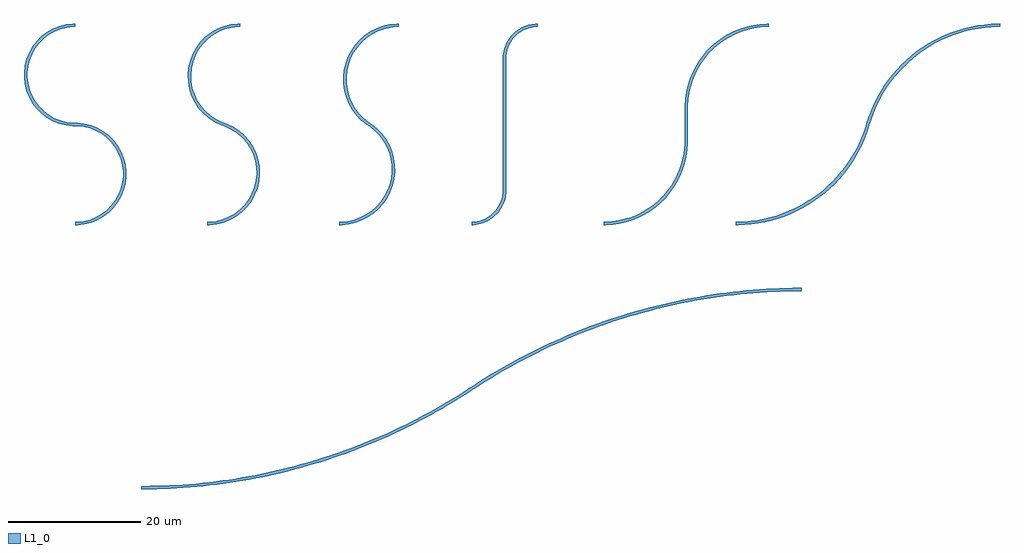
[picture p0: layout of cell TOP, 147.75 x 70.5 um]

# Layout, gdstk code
import gdstk
lib = gdstk.Library(unit=1e-6, precision=1e-09)
L1_0 = (1, 0)

top = lib.new_cell('TOP')
top.add(gdstk.FlexPath([(-50,0),(-49.663,0),(-48.659,0.113),(-47.68,0.36),(-46.743,0.736),(-45.864,1.234),(-45.06,1.846),(-44.346,2.56),(-43.734,3.364),(-43.236,4.243),(-42.86,5.18),(-42.613,6.159),(-42.5,7.163),(-42.5,7.5),(-42.5,7.837),(-42.613,8.841),(-42.86,9.82),(-43.236,10.757),(-43.734,11.636),(-44.346,12.44),(-45.06,13.154),(-45.864,13.766),(-46.743,14.264),(-47.68,14.64),(-48.659,14.887),(-49.663,15),(-50,15),(-50.337,15),(-51.341,15.113),(-52.32,15.36),(-53.257,15.736),(-54.136,16.234),(-54.94,16.846),(-55.654,17.56),(-56.266,18.364),(-56.764,19.243),(-57.14,20.18),(-57.387,21.159),(-57.5,22.163),(-57.5,22.5),(-57.5,22.837),(-57.387,23.841),(-57.14,24.82),(-56.764,25.757),(-56.266,26.636),(-55.654,27.44),(-54.94,28.154),(-54.136,28.766),(-53.257,29.264),(-52.32,29.64),(-51.341,29.887),(-50.337,30),(-50,30)], 0.5, ends="flush", simple_path=True, layer=1, datatype=0))  # L1_0
top.add(gdstk.FlexPath([(-30,0),(-29.65,0),(-28.608,0.119),(-27.592,0.378),(-26.62,0.772),(-25.71,1.294),(-24.88,1.935),(-24.145,2.683),(-23.517,3.523),(-23.01,4.441),(-22.631,5.419),(-22.389,6.44),(-22.287,7.484),(-22.328,8.532),(-22.51,9.565),(-22.831,10.563),(-23.285,11.509),(-23.862,12.384),(-24.553,13.174),(-25.344,13.862),(-26.222,14.436),(-27.169,14.887),(-27.5,15),(-27.831,15.113),(-28.778,15.564),(-29.656,16.138),(-30.447,16.826),(-31.138,17.616),(-31.715,18.491),(-32.169,19.437),(-32.49,20.435),(-32.672,21.468),(-32.713,22.516),(-32.611,23.56),(-32.369,24.581),(-31.99,25.559),(-31.483,26.477),(-30.855,27.317),(-30.12,28.065),(-29.29,28.706),(-28.38,29.228),(-27.408,29.622),(-26.392,29.881),(-25.35,30),(-25,30)], 0.5, ends="flush", simple_path=True, layer=1, datatype=0))  # L1_0
top.add(gdstk.FlexPath([(-10,0),(-9.662,0),(-8.655,0.104),(-7.669,0.332),(-6.718,0.68),(-5.818,1.143),(-4.982,1.713),(-4.222,2.382),(-3.551,3.14),(-2.978,3.975),(-2.513,4.874),(-2.163,5.824),(-1.933,6.81),(-1.826,7.816),(-1.844,8.829),(-1.987,9.831),(-2.253,10.808),(-2.638,11.744),(-3.135,12.626),(-3.737,13.44),(-4.435,14.173),(-5.218,14.814),(-5.5,15),(-5.782,15.186),(-6.565,15.827),(-7.263,16.56),(-7.865,17.374),(-8.362,18.256),(-8.747,19.192),(-9.013,20.169),(-9.156,21.171),(-9.174,22.184),(-9.067,23.19),(-8.837,24.176),(-8.487,25.126),(-8.022,26.025),(-7.449,26.86),(-6.778,27.618),(-6.018,28.287),(-5.182,28.857),(-4.282,29.32),(-3.331,29.668),(-2.345,29.896),(-1.338,30),(-1,30)], 0.5, ends="flush", simple_path=True, layer=1, datatype=0))  # L1_0
top.add(gdstk.FlexPath([(10,0),(10.342,0),(11.352,0.174),(12.306,0.55),(13.163,1.112),(13.888,1.837),(14.45,2.694),(14.826,3.648),(15,4.658),(15,5),(15,25),(15,25.342),(15.174,26.352),(15.55,27.306),(16.112,28.163),(16.837,28.888),(17.694,29.45),(18.648,29.826),(19.658,30),(20,30)], 0.5, ends="flush", simple_path=True, layer=1, datatype=0))  # L1_0
top.add(gdstk.FlexPath([(30,0),(30.333,0),(31.329,0.066),(32.317,0.212),(33.29,0.436),(34.242,0.737),(35.167,1.113),(36.059,1.562),(36.912,2.08),(37.722,2.665),(38.482,3.312),(39.188,4.018),(39.835,4.778),(40.42,5.588),(40.938,6.441),(41.387,7.333),(41.763,8.258),(42.064,9.21),(42.288,10.183),(42.434,11.171),(42.5,12.167),(42.5,12.5),(42.5,17.5),(42.5,17.833),(42.566,18.829),(42.712,19.817),(42.936,20.79),(43.237,21.742),(43.613,22.667),(44.062,23.559),(44.58,24.412),(45.165,25.222),(45.812,25.982),(46.518,26.688),(47.278,27.335),(48.088,27.92),(48.941,28.438),(49.833,28.887),(50.758,29.263),(51.71,29.564),(52.683,29.788),(53.671,29.934),(54.667,30),(55,30)], 0.5, ends="flush", simple_path=True, layer=1, datatype=0))  # L1_0
top.add(gdstk.FlexPath([(50,0),(50.335,0),(51.34,0.04),(52.341,0.129),(53.338,0.266),(54.326,0.451),(55.304,0.684),(56.27,0.963),(57.221,1.289),(58.156,1.66),(59.071,2.076),(59.966,2.535),(60.837,3.037),(61.683,3.581),(62.502,4.165),(63.291,4.787),(64.05,5.447),(64.776,6.143),(65.467,6.873),(66.123,7.635),(66.741,8.428),(67.32,9.25),(67.858,10.099),(68.355,10.973),(68.81,11.871),(69.22,12.788),(69.586,13.725),(69.906,14.678),(70,15),(70.094,15.322),(70.414,16.275),(70.78,17.212),(71.19,18.129),(71.645,19.027),(72.142,19.901),(72.68,20.75),(73.259,21.572),(73.877,22.365),(74.533,23.127),(75.224,23.857),(75.95,24.553),(76.709,25.213),(77.498,25.835),(78.317,26.419),(79.163,26.963),(80.034,27.465),(80.929,27.924),(81.844,28.34),(82.779,28.711),(83.73,29.037),(84.696,29.316),(85.674,29.549),(86.662,29.734),(87.659,29.871),(88.66,29.96),(89.665,30),(90,30)], 0.5, ends="flush", simple_path=True, layer=1, datatype=0))  # L1_0
top.add(gdstk.FlexPath([(-40,-40),(-39.665,-40),(-38.66,-39.991),(-37.654,-39.97),(-36.65,-39.939),(-35.645,-39.896),(-34.641,-39.842),(-33.638,-39.778),(-32.636,-39.702),(-31.634,-39.615),(-30.633,-39.516),(-29.634,-39.407),(-28.636,-39.287),(-27.639,-39.156),(-26.644,-39.013),(-25.65,-38.86),(-24.659,-38.696),(-23.669,-38.52),(-22.681,-38.334),(-21.695,-38.137),(-20.711,-37.929),(-19.73,-37.71),(-18.751,-37.48),(-17.775,-37.24),(-16.802,-36.988),(-15.831,-36.726),(-14.864,-36.453),(-13.899,-36.17),(-12.938,-35.876),(-11.98,-35.571),(-11.025,-35.255),(-10.074,-34.929),(-9.127,-34.593),(-8.183,-34.246),(-7.243,-33.889),(-6.308,-33.521),(-5.376,-33.143),(-4.449,-32.755),(-3.526,-32.356),(-2.607,-31.947),(-1.694,-31.528),(-0.784,-31.099),(0.12,-30.66),(1.02,-30.211),(1.914,-29.752),(2.803,-29.283),(3.687,-28.805),(4.566,-28.316),(5.439,-27.818),(6.307,-27.31),(7.169,-26.793),(8.025,-26.266),(8.876,-25.73),(9.72,-25.184),(10,-25),(10.28,-24.816),(11.124,-24.27),(11.975,-23.734),(12.831,-23.207),(13.693,-22.69),(14.561,-22.182),(15.434,-21.684),(16.313,-21.195),(17.197,-20.717),(18.086,-20.248),(18.98,-19.789),(19.88,-19.34),(20.784,-18.901),(21.694,-18.472),(22.607,-18.053),(23.526,-17.644),(24.449,-17.245),(25.376,-16.857),(26.308,-16.479),(27.243,-16.111),(28.183,-15.754),(29.127,-15.407),(30.074,-15.071),(31.025,-14.745),(31.98,-14.429),(32.938,-14.124),(33.899,-13.83),(34.864,-13.547),(35.831,-13.274),(36.802,-13.012),(37.775,-12.76),(38.751,-12.52),(39.73,-12.29),(40.711,-12.071),(41.695,-11.863),(42.681,-11.666),(43.669,-11.48),(44.659,-11.304),(45.65,-11.14),(46.644,-10.987),(47.639,-10.844),(48.636,-10.713),(49.634,-10.593),(50.633,-10.484),(51.634,-10.385),(52.636,-10.298),(53.638,-10.222),(54.641,-10.158),(55.645,-10.104),(56.65,-10.061),(57.654,-10.03),(58.66,-10.009),(59.665,-10),(60,-10)], 0.5, ends="flush", simple_path=True, layer=1, datatype=0))  # L1_0

lib.write_gds('TOP.gds')
